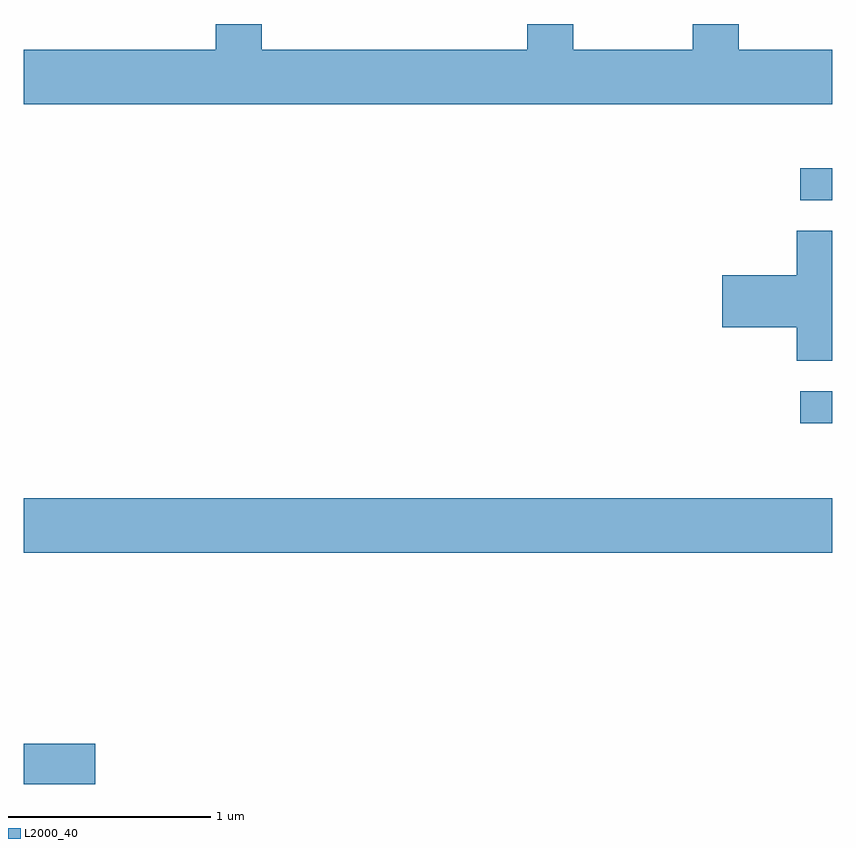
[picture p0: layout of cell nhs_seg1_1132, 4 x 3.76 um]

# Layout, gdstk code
import gdstk
lib = gdstk.Library(unit=1e-6, precision=1e-09)
def R(c, l, rs):  # rectangles x0, y0, x1, y1
    for r in rs: c.add(gdstk.rectangle(r[:2], r[2:], *l))
def P(c, l, *ps):  # polygons
    for p in ps: c.add(gdstk.Polygon(p, *l))
L2000_40 = (2000, 40)

nhs_seg1_1132 = lib.new_cell('nhs_seg1_1132')
R(nhs_seg1_1132, L2000_40, [(219.611,933.951,219.964,934.149), (219.611,935.096,223.611,935.364), (223.453,935.736,223.611,935.894), (223.453,936.841,223.611,936.999)])
P(nhs_seg1_1132, L2000_40, [(223.611,937.584),(223.149,937.584),(223.149,937.712),(222.921,937.712),(222.921,937.584),(222.329,937.584),(222.329,937.712),(222.101,937.712),(222.101,937.584),(220.789,937.584),(220.789,937.712),(220.561,937.712),(220.561,937.584),(219.611,937.584),(219.611,937.316),(223.611,937.316)],
  [(223.611,936.689),(223.436,936.689),(223.436,936.469),(223.066,936.469),(223.066,936.211),(223.436,936.211),(223.436,936.046),(223.611,936.046)])

lib.write_gds('nhs_seg1_1132.gds')
